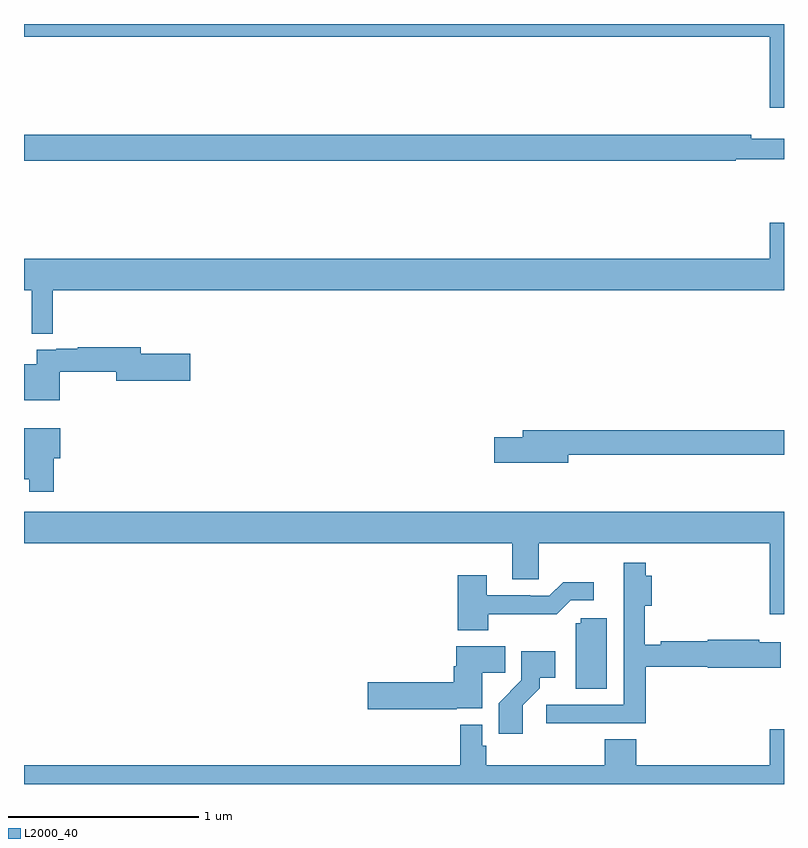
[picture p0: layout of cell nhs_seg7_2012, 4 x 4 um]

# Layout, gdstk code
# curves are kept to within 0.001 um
import gdstk
lib = gdstk.Library(unit=1e-6, precision=1e-09)
def P(c, l, *ps):  # polygons
    for p in ps: c.add(gdstk.Polygon(p, *l))
L2000_40 = (2000, 40)

nhs_seg7_2012 = lib.new_cell('nhs_seg7_2012')
P(nhs_seg7_2012, L2000_40, [(249,1018),(245,1018),(245,1017.932),(248.924,1017.932),(248.924,1017.558),(249,1017.558)],
  [(248.745,1017.288),(249,1017.288),(249,1017.397),(248.828,1017.397),(248.828,1017.416),(245,1017.416),(245,1017.28),(248.745,1017.28)],
  [(245.15,1016.6),(249,1016.6),(249,1016.953),(248.924,1016.953),(248.924,1016.764),(245,1016.764),(245,1016.6),(245.042,1016.6),(245.042,1016.371),(245.15,1016.371)],
  [(245.188,1016.17),(245.486,1016.17),(245.486,1016.123),(245.875,1016.123),(245.875,1016.265),(245.614,1016.265),(245.614,1016.299),(245.284,1016.299),(245.284,1016.292),(245.17,1016.292),(245.17,1016.286),(245.066,1016.286),(245.066,1016.209),(245,1016.209),(245,1016.021),(245.188,1016.021)],
  [(245.156,1015.715),(245.191,1015.715),(245.191,1015.873),(245,1015.873),(245,1015.604),(245.028,1015.604),(245.028,1015.539),(245.156,1015.539)],
  [(247.864,1015.734),(249,1015.734),(249,1015.862),(247.625,1015.862),(247.625,1015.826),(247.476,1015.826),(247.476,1015.691),(247.864,1015.691)],
  [(249,1015.432),(245,1015.432),(245,1015.268),(247.571,1015.268),(247.571,1015.078),(247.71,1015.078),(247.71,1015.268),(248.924,1015.268),(248.924,1014.894),(249,1014.894)],
  [(247.973,1014.321),(248.273,1014.321),(248.273,1014.616),(248.598,1014.616),(248.598,1014.611),(248.983,1014.611),(248.983,1014.745),(248.87,1014.745),(248.87,1014.758),(248.598,1014.758),(248.598,1014.752),(248.35,1014.752),(248.35,1014.734),(248.266,1014.734),(248.266,1014.938),(248.303,1014.938),(248.303,1015.096),(248.273,1015.096),(248.273,1015.165),(248.156,1015.165),(248.156,1014.942),(248.157,1014.942),(248.157,1014.417),(247.749,1014.417),(247.749,1014.319),(247.973,1014.319)],
  [(247.443,1014.894),(247.805,1014.893),(247.878,1014.966),(247.999,1014.966),(247.999,1015.063),(247.837,1015.063),(247.764,1014.99),(247.664,1014.99),(247.664,1014.993),(247.435,1014.993),(247.435,1015.099),(247.283,1015.099),(247.283,1014.809),(247.443,1014.809)],
  [(248.068,1014.873),(247.929,1014.873),(247.929,1014.846),(247.904,1014.846),(247.904,1014.502),(248.068,1014.502)],
  [(247.278,1014.398),(247.411,1014.398),(247.411,1014.586),(247.532,1014.586),(247.532,1014.724),(247.274,1014.724),(247.274,1014.62),(247.262,1014.62),(247.262,1014.536),(246.81,1014.536),(246.81,1014.394),(247.278,1014.394)],
  [(247.624,1014.415),(247.714,1014.505),(247.714,1014.56),(247.795,1014.56),(247.795,1014.7),(247.617,1014.7),(247.617,1014.545),(247.498,1014.426),(247.498,1014.264),(247.624,1014.264)],
  [(249,1014.289),(248.924,1014.289),(248.924,1014.1),(248.222,1014.1),(248.222,1014.236),(248.057,1014.236),(248.057,1014.1),(247.433,1014.1),(247.433,1014.201),(247.413,1014.201),(247.413,1014.313),(247.297,1014.313),(247.297,1014.1),(245,1014.1),(245,1014),(249,1014)])

lib.write_gds('nhs_seg7_2012.gds')
